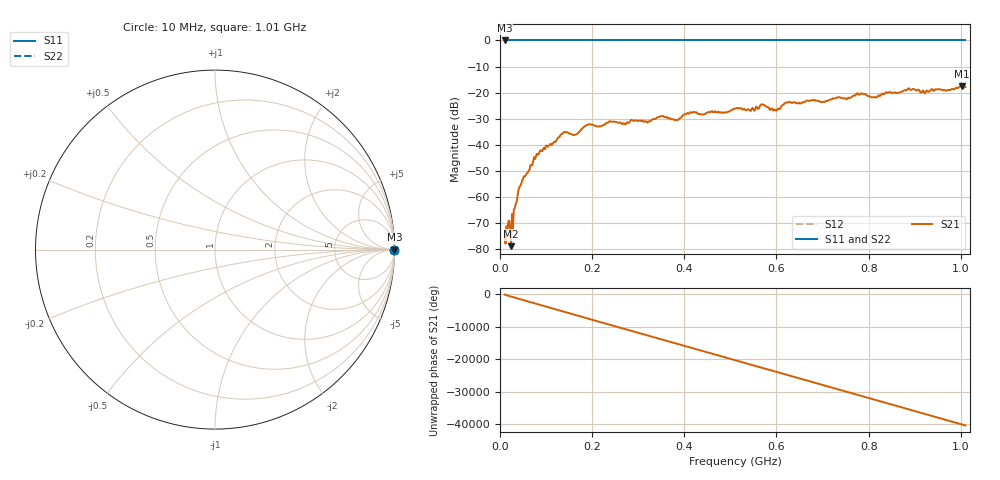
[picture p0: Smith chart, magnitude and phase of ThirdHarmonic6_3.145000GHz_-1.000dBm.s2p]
! 8/17/2025 9:24:05 AM
! C:\ANRITSUVNA\TEMP\TEMP.S2P
! CHANNEL.1
! TR.MEASUREMENT
! RAW.DATA
! RF.CORRECTION.OFF
! AVERAGING.OFF
! IF.BANDWIDTH: 5KHZ
! SWEEPTYPE:  FREQ.SWEEP(Linear)
! Reference Plane Port Info
! PORT:  PORT1  PORT2
! DISTANCE:  0  m  0  m
! TIME:  0  s  0  s
! PHASE.OFFSET:  0  deg.  0  deg.
! LOSS:  0  dB  0  dB
! REF.LOSS:  0  dB  0  dB
! REF.FREQ:  0  Hz  0  Hz
! Power Info
! POWER:  -20  dBm  -20  dBm
! EFF.POWER:  -20  dBm  -20  dBm
! SOURCE.ATTEN:  0  dB  0  dB
! TEST.ATTEN:  0  dB  0  dB
# GHZ S RI R 50.0
! FREQ.GHZ  S11RE  S11IM  S21RE  S21IM  S12RE  S12IM  S22RE  S22IM
!; PortSelection: Port_12
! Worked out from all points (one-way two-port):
!   501 points, 10 MHz to 1.01 GHz, reference 50 ohm
!   highest |S21| = -17.58 dB at 1.002 GHz (marker M1); lowest = -78.8 dB at 24 MHz (marker M2)
!   lowest |S11| = 0.0 dB at 10 MHz (marker M3)
!   |S11| at or under -10 dB: nowhere
!   |S22| runs from 0.0 to 0.0 dB; largest |S21 - S12| = 1.1
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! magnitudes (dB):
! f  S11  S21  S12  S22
! 10 MHz  0.0  -75.7  0.0  0.0
! 18 MHz  0.0  -69.5  0.0  0.0
! 24 MHz  0.0  -78.8  0.0  0.0
! 44 MHz  0.0  -55.7  0.0  0.0
! 78 MHz  0.0  -44.4  0.0  0.0
! 136 MHz  0.0  -35.7  0.0  0.0
! 162 MHz  0.0  -36.2  0.0  0.0
! 178 MHz  0.0  -33.8  0.0  0.0
! 344 MHz  0.0  -29.4  0.0  0.0
! 384 MHz  0.0  -30.5  0.0  0.0
! 416 MHz  0.0  -27.7  0.0  0.0
! 510 MHz  0.0  -26.1  0.0  0.0
! 548 MHz  0.0  -25.8  0.0  0.0
! 570 MHz  0.0  -24.5  0.0  0.0
! 596 MHz  0.0  -26.4  0.0  0.0
! 624 MHz  0.0  -23.8  0.0  0.0
! 678 MHz  0.0  -22.9  0.0  0.0
! 786 MHz  0.0  -20.3  0.0  0.0
! 814 MHz  0.0  -21.7  0.0  0.0
! 844 MHz  0.0  -19.9  0.0  0.0
! 1.002 GHz  0.0  -17.6  0.0  0.0
! 1.01 GHz  0.0  -17.9  0.0  0.0
